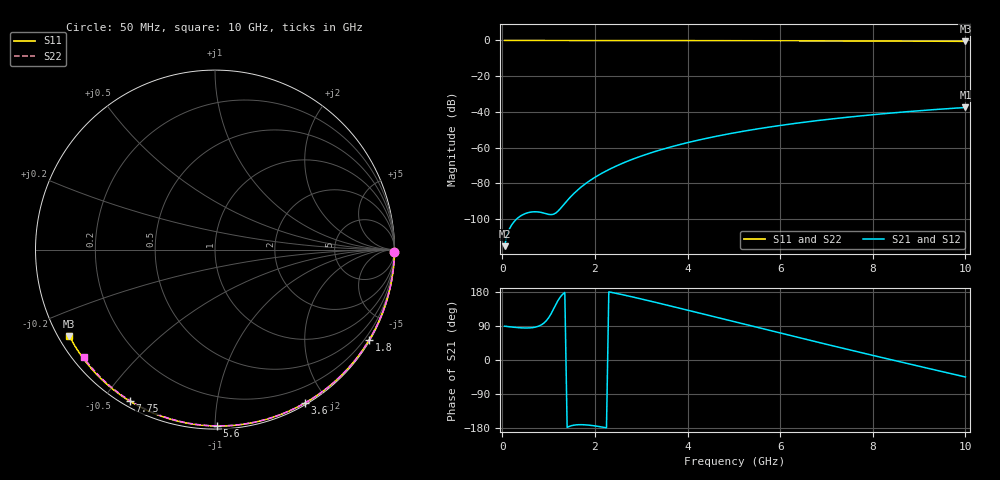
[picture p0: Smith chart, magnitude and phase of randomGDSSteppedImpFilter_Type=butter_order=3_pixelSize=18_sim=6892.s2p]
! freq	dB(S11)	phase(S11)	dB(S12)	phase(S12)
!  dB(S21)	phase(S21)	dB(S22)	phase(S22)
!S-par simulation data
#  GHz  S  DB  R 50
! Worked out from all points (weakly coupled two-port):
!   200 points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, 50 MHz to 10 GHz, reference 50 ohm
!   highest |S21| = -37.54 dB at 10 GHz (marker M1); lowest = -115.2 dB at 50 MHz (marker M2)
!   lowest |S11| = -0.5 dB at 10 GHz (marker M3), VSWR 34.46, Z = 1.56 - j13.7 ohm
!   |S11| at or under -10 dB: nowhere
!   |S22| runs from -0.5 to 0.0 dB; largest |S21 - S12| = 0
!   S11 on the Smith chart (normalised r, x): 50 MHz: open; 1.8 GHz: 0.03, -3.67; 3.6 GHz: 0.02, -1.75; 5.6 GHz: 0.02, -1.01; 7.75 GHz: 0.02, -0.59; 10 GHz: 0.03, -0.27
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0.05  -0.00 -0.9  -115.19 89.2  -115.19 89.2  -0.00 -0.8
0.45  -0.01 -7.7  -97.47 84.6  -97.47 84.6  -0.01 -7.3
0.9  -0.02 -15.4  -96.68 97.6  -96.68 97.6  -0.02 -14.5
1.3  -0.03 -22.2  -92.74 173.0  -92.74 173.0  -0.03 -20.8
1.75  -0.04 -29.7  -81.12 -170.8  -81.12 -170.8  -0.04 -27.9
1.8  -0.04 -30.5  -80.14 -171.2  -80.14 -171.2  -0.04 -28.7
2  -0.04 -33.8  -76.64 -173.9  -76.64 -173.9  -0.04 -31.8
2.15  -0.05 -36.3  -74.37 -176.8  -74.37 -176.8  -0.04 -34.1
2.5  -0.05 -42.0  -69.86 174.8  -69.86 174.8  -0.05 -39.5
2.9  -0.06 -48.5  -65.67 163.9  -65.67 163.9  -0.06 -45.6
3.4  -0.07 -56.4  -61.39 149.5  -61.39 149.5  -0.07 -53.1
3.6  -0.08 -59.5  -59.90 143.5  -59.90 143.5  -0.08 -56.0
4.3  -0.10 -70.3  -55.41 122.5  -55.41 122.5  -0.09 -66.2
5.05  -0.13 -81.5  -51.54 99.7  -51.54 99.7  -0.12 -76.7
5.6  -0.15 -89.4  -49.15 83.1  -49.15 83.1  -0.14 -84.3
6.15  -0.17 -97.2  -47.06 66.6  -47.06 66.6  -0.16 -91.7
6.7  -0.20 -104.9  -45.20 50.3  -45.20 50.3  -0.19 -98.9
7.2  -0.24 -111.8  -43.69 35.5  -43.69 35.5  -0.22 -105.4
7.75  -0.28 -119.2  -42.20 19.4  -42.20 19.4  -0.26 -112.4
8.35  -0.33 -127.2  -40.75 2.1  -40.75 2.1  -0.31 -119.9
9.2  -0.41 -138.6  -38.96 -22.2  -38.96 -22.2  -0.38 -130.6
10  -0.50 -149.4  -37.54 -44.8  -37.54 -44.8  -0.47 -140.7
